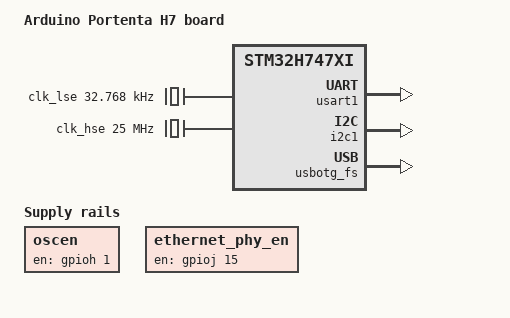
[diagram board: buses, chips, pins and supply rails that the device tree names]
/*
 * Copyright (c) 2022 Benjamin Björnsson <benjamin.bjornsson@gmail.com>.
 *
 * SPDX-License-Identifier: Apache-2.0
 */

/dts-v1/;
#include <st/h7/stm32h747Xi_m7.dtsi>
#include <st/h7/stm32h747xihx-pinctrl.dtsi>
#include "arduino_portenta_h7-common.dtsi"

/ {
	model = "Arduino Portenta H7 board";
	compatible = "arduino,portenta-h7";

	/* HW resources are split between CM7 and CM4 */
	chosen {
		zephyr,console = &usart1;
		zephyr,shell-uart = &usart1;
		zephyr,sram = &sram0;
		zephyr,flash = &flash0;
		zephyr,code-partition = &code_partition;
	};

	oscen: oscen {
		compatible = "regulator-fixed";
		regulator-name = "oscen";
		enable-gpios = <&gpioh 1 GPIO_ACTIVE_HIGH>;
		regulator-boot-on;
		status = "okay";
	};

	ethernet_phy_en: ethernet_phy_en {
		compatible = "regulator-fixed";
		regulator-name = "ethernet-phy-reset-release";
		enable-gpios = <&gpioj 15 GPIO_ACTIVE_HIGH>;
		regulator-boot-on;
		status = "okay";
	};

	sdram1: sdram@c0000000 {
		compatible = "zephyr,memory-region", "mmio-sram";
		device_type = "memory";
		reg = <0xc0000000 DT_SIZE_M(8)>;
		zephyr,memory-region = "SDRAM1";
		zephyr,memory-attr = <( DT_MEM_ARM(ATTR_MPU_RAM) )>;
	};
};

&clk_lse {
	clock-frequency = <32768>;
	status = "okay";
};

&clk_hse {
	clock-frequency = <DT_FREQ_M(25)>;
	hse-bypass;
	status = "okay";
};

&clk_hsi {
	hsi-div = <1>;
	status = "okay";
};

&pll {
	div-m = <5>;
	mul-n = <192>;
	div-p = <2>;
	div-q = <2>;
	div-r = <2>;
	clocks = <&clk_hse>;
	status = "okay";
};

&rcc {
	clocks = <&pll>;
	clock-frequency = <DT_FREQ_M(480)>;
};


&usart1 {
	status = "okay";
};

&i2c1 {
	status = "okay";
};

&usbotg_fs {
	status = "okay";
};

&flash0 {
	partitions {
		compatible = "fixed-partitions";
		#address-cells = <1>;
		#size-cells = <1>;

		boot_partition: partition@0 {
			label = "bootloader";
			reg = <0x0 0x00040000>;
			read-only;
		};

		code_partition: partition@40000 {
			label = "code";
			reg = <0x40000 0x000c0000>;
			read-only;
		};

		/*
		 * The flash starting at 0x000f8000 and ending at
		 * 0x000fffff is reserved for use by the application.
		 *
		 * Storage partition will be used by FCB/LittleFS/NVS
		 * if enabled.
		 */
		storage_partition: partition@f8000 {
			label = "storage";
			reg = <0x000f8000 0x00008000>;
		};
	};
};
